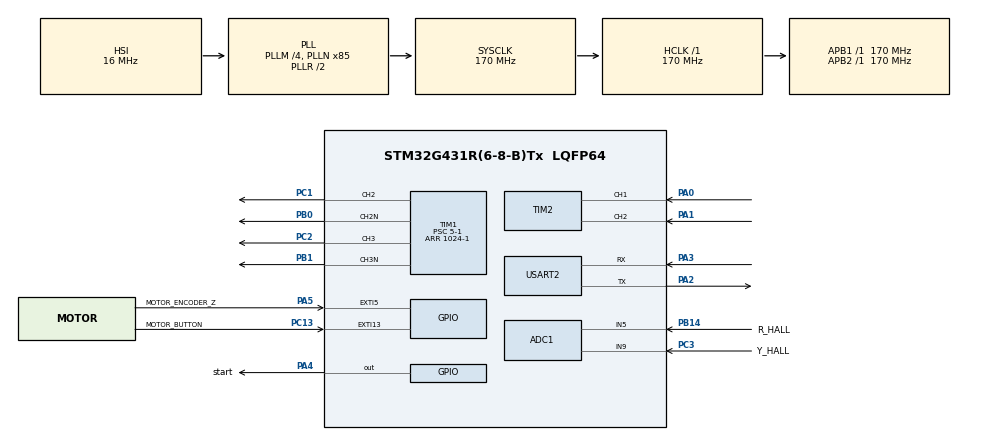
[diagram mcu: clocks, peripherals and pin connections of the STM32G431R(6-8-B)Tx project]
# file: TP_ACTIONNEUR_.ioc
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ADC1.Channel-5\#ChannelRegularConversion=ADC_CHANNEL_5
ADC1.Channel-6\#ChannelRegularConversion=ADC_CHANNEL_9
ADC1.ContinuousConvMode=ENABLE
ADC1.EOCSelection=ADC_EOC_SINGLE_CONV
ADC1.NbrOfConversion=2
ADC1.NbrOfConversionFlag=1
ADC1.OffsetNumber-5\#ChannelRegularConversion=ADC_OFFSET_NONE
ADC1.OffsetNumber-6\#ChannelRegularConversion=ADC_OFFSET_NONE
ADC1.Rank-5\#ChannelRegularConversion=1
ADC1.Rank-6\#ChannelRegularConversion=2
ADC1.SamplingTime-5\#ChannelRegularConversion=ADC_SAMPLETIME_2CYCLES_5
ADC1.SamplingTime-6\#ChannelRegularConversion=ADC_SAMPLETIME_2CYCLES_5
ADC1.master=1
Dma.ADC1.0.Direction=DMA_PERIPH_TO_MEMORY
Dma.ADC1.0.EventEnable=DISABLE
Dma.ADC1.0.Instance=DMA1_Channel1
Dma.ADC1.0.MemDataAlignment=DMA_MDATAALIGN_WORD
Dma.ADC1.0.MemInc=DMA_MINC_ENABLE
Dma.ADC1.0.Mode=DMA_CIRCULAR
Dma.ADC1.0.PeriphDataAlignment=DMA_PDATAALIGN_WORD
Dma.ADC1.0.PeriphInc=DMA_PINC_DISABLE
Dma.ADC1.0.Polarity=HAL_DMAMUX_REQ_GEN_RISING
Dma.ADC1.0.Priority=DMA_PRIORITY_LOW
Dma.ADC1.0.RequestNumber=1
Dma.ADC1.0.SignalID=NONE
Dma.ADC1.0.SyncEnable=DISABLE
Dma.ADC1.0.SyncPolarity=HAL_DMAMUX_SYNC_NO_EVENT
Dma.ADC1.0.SyncRequestNumber=1
Dma.ADC1.0.SyncSignalID=NONE
Dma.Request0=ADC1
Mcu.Family=STM32G4
Mcu.Name=STM32G431R(6-8-B)Tx
Mcu.Package=LQFP64
NVIC.DMA1_Channel1_IRQn=true\:0\:0\:false\:false\:true\:false\:true
NVIC.EXTI15_10_IRQn=true\:0\:0\:false\:false\:true\:true\:true
NVIC.EXTI9_5_IRQn=true\:0\:0\:false\:false\:true\:true\:true
NVIC.PriorityGroup=NVIC_PRIORITYGROUP_4
NVIC.TIM3_IRQn=true\:0\:0\:false\:false\:true\:true\:true
NVIC.TIM4_IRQn=true\:0\:0\:false\:false\:true\:true\:true
NVIC.TIM6_DAC_IRQn=true\:15\:0\:false\:false\:true\:false\:true
NVIC.TIM7_IRQn=true\:0\:0\:false\:false\:true\:true\:true
NVIC.TimeBase=TIM6_DAC_IRQn
NVIC.TimeBaseIP=TIM6
NVIC.USART2_IRQn=true\:0\:0\:false\:false\:true\:true\:true
PA0.Signal=S_TIM2_CH1
PA1.Signal=S_TIM2_CH2
PA13.Mode=Serial_Wire
PA13.Signal=SYS_JTMS-SWDIO
PA14.Mode=Serial_Wire
PA14.Signal=SYS_JTCK-SWCLK
PA2.Mode=Asynchronous
PA2.Signal=USART2_TX
PA3.Mode=Asynchronous
PA3.Signal=USART2_RX
PA4.GPIO_Label=start
PA4.Signal=GPIO_Output
PA5.GPIO_Label=MOTOR_ENCODER_Z
PA5.Signal=GPXTI5
PB0.Mode=PWM Generation2 CH2 CH2N
PB0.Signal=TIM1_CH2N
PB1.Mode=PWM Generation3 CH3 CH3N
PB1.Signal=TIM1_CH3N
PB14.GPIO_Label=R_HALL
PB14.Mode=IN5-Single-Ended
PB14.Signal=ADC1_IN5
PC0.Signal=ADC1_IN6
PC1.Signal=S_TIM1_CH2
PC13.GPIO_Label=MOTOR_BUTTON
PC13.Signal=GPXTI13
PC2.Signal=S_TIM1_CH3
PC3.GPIO_Label=Y_HALL
PC3.Mode=IN9-Single-Ended
PC3.Signal=ADC1_IN9
PF0-OSC_IN.Mode=HSE-External-Oscillator
PF0-OSC_IN.Signal=RCC_OSC_IN
PF1-OSC_OUT.Mode=HSE-External-Oscillator
PF1-OSC_OUT.Signal=RCC_OSC_OUT
ProjectManager.HeapSize=0x200
ProjectManager.StackSize=0x400
ProjectManager.TargetToolchain=STM32CubeIDE
RCC.ADC12Freq_Value=170000000
RCC.AHBFreq_Value=170000000
RCC.APB1Freq_Value=170000000
RCC.APB1TimFreq_Value=170000000
RCC.APB2Freq_Value=170000000
RCC.APB2TimFreq_Value=170000000
RCC.CortexFreq_Value=170000000
RCC.EXTERNAL_CLOCK_VALUE=12288000
RCC.HCLKFreq_Value=170000000
RCC.HSE_VALUE=24000000
RCC.HSI48_VALUE=48000000
RCC.HSI_VALUE=16000000
RCC.LSE_VALUE=32768
RCC.PLLM=RCC_PLLM_DIV4
RCC.PLLN=85
RCC.RTCClockSelection=RCC_RTCCLKSOURCE_LSE
RCC.SYSCLKFreq_VALUE=170000000
RCC.SYSCLKSource=RCC_SYSCLKSOURCE_PLLCLK
RCC.USBFreq_Value=170000000
RCC.VCOOutputFreq_Value=340000000
SH.S_TIM1_CH2.0=TIM1_CH2,PWM Generation2 CH2 CH2N
SH.S_TIM1_CH3.0=TIM1_CH3,PWM Generation3 CH3 CH3N
SH.S_TIM2_CH1.0=TIM2_CH1,Encoder_Interface
SH.S_TIM2_CH2.0=TIM2_CH2,Encoder_Interface
TIM1.Channel-PWM\ Generation2\ CH2\ CH2N=TIM_CHANNEL_2
TIM1.Channel-PWM\ Generation3\ CH3\ CH3N=TIM_CHANNEL_3
TIM1.CounterMode=TIM_COUNTERMODE_CENTERALIGNED1
TIM1.DeadTime=203
TIM1.PeriodNoDither=1024-1
TIM1.Prescaler=5-1
TIM2.EncoderMode=TIM_ENCODERMODE_TI12
TIM3.PeriodNoDither=17000-1
TIM3.Prescaler=10000-1
TIM4.PeriodNoDither=17000-1
TIM4.Prescaler=10-1
TIM7.Prescaler=26-1
USART2.VirtualMode-Asynchronous=VM_ASYNC
VP_SYS_VS_DBSignals.Mode=DisableDeadBatterySignals
VP_SYS_VS_tim6.Mode=TIM6
VP_TIM3_VS_ClockSourceINT.Mode=Internal
VP_TIM4_VS_ClockSourceINT.Mode=Internal
VP_TIM7_VS_ClockSourceINT.Mode=Enable_Timer
board=NUCLEO-G431RB

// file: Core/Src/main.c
/* USER CODE BEGIN Header */
/**
 ******************************************************************************
 * @file           : main.c
 * @brief          : Main program body
 ******************************************************************************
 * @attention
 *
 * <h2><center>&copy; Copyright (c) 2021 STMicroelectronics.
 * All rights reserved.</center></h2>
 *
 * This software component is licensed by ST under BSD 3-Clause license,
 * the "License"; You may not use this file except in compliance with the
 * License. You may obtain a copy of the License at:
 *                        opensource.org/licenses/BSD-3-Clause
 *
 ******************************************************************************
 */
/* USER CODE END Header */
#include "main.h"
#include "adc.h"
#include "dma.h"
#include "tim.h"
#include "usart.h"
#include "gpio.h"

/* USER CODE BEGIN Includes */
#include <shell.h>
#include <motor.h>
/* USER CODE END Includes */

/* USER CODE BEGIN PD */
//#define UART_RX_BUFFER_SIZE 1
//#define UART_TX_BUFFER_SIZE 1

#define ENC_RESET_CNT 2147483648  // 2^32/2

/* USER CODE END PD */

/* USER CODE BEGIN PV */
// MOTOR speed
uint16_t alpha = 500;

/* USER CODE END PV */

void SystemClock_Config(void);

/* USER CODE BEGIN 0 */
//char uart_rx_buffer[UART_RX_BUFFER_SIZE];
//char uart_tx_buffer[UART_TX_BUFFER_SIZE];
/* USER CODE END 0 */

int main(void)
{

  /* MCU Configuration--------------------------------------------------------*/

  /* Reset of all peripherals, Initializes the Flash interface and the Systick. */
  HAL_Init();

  /* Configure the system clock */
  SystemClock_Config();

  /* Initialize all configured peripherals */
  MX_GPIO_Init();
  MX_USART2_UART_Init();
  MX_TIM1_Init();
  MX_TIM7_Init();
  MX_TIM2_Init();
  MX_TIM3_Init();
  MX_DMA_Init();
  MX_ADC1_Init();
  MX_TIM4_Init();
  /* USER CODE BEGIN 2 */
	HAL_TIM_Base_Start_IT(&htim7);
	HAL_TIM_Base_Start_IT(&htim3);
	HAL_TIM_Base_Start_IT(&htim4);

	printf("\r\n -------------- TP ACTIONNEUR -------------- \r\n");

	// ENCODER - Set the counter value at ARR/2
	__HAL_TIM_SET_COUNTER(&htim2,ENC_RESET_CNT);
	SHELL_init();
	MOTOR_init();

  /* USER CODE END 2 */

  /* Infinite loop */
  /* USER CODE BEGIN WHILE */
	while (1)
	{
		SHELL();
    /* USER CODE END WHILE */

	}
}

void SystemClock_Config(void)
{
  RCC_OscInitTypeDef RCC_OscInitStruct = {0};
  RCC_ClkInitTypeDef RCC_ClkInitStruct = {0};
  RCC_PeriphCLKInitTypeDef PeriphClkInit = {0};

  /** Configure the main internal regulator output voltage
  */
  HAL_PWREx_ControlVoltageScaling(PWR_REGULATOR_VOLTAGE_SCALE1_BOOST);
  /** Initializes the RCC Oscillators according to the specified parameters
  * in the RCC_OscInitTypeDef structure.
  */
  RCC_OscInitStruct.OscillatorType = RCC_OSCILLATORTYPE_HSI;
  RCC_OscInitStruct.HSIState = RCC_HSI_ON;
  RCC_OscInitStruct.HSICalibrationValue = RCC_HSICALIBRATION_DEFAULT;
  RCC_OscInitStruct.PLL.PLLState = RCC_PLL_ON;
  RCC_OscInitStruct.PLL.PLLSource = RCC_PLLSOURCE_HSI;
  RCC_OscInitStruct.PLL.PLLM = RCC_PLLM_DIV4;
  RCC_OscInitStruct.PLL.PLLN = 85;
  RCC_OscInitStruct.PLL.PLLP = RCC_PLLP_DIV2;
  RCC_OscInitStruct.PLL.PLLQ = RCC_PLLQ_DIV2;
  RCC_OscInitStruct.PLL.PLLR = RCC_PLLR_DIV2;
  if (HAL_RCC_OscConfig(&RCC_OscInitStruct) != HAL_OK)
  {
    Error_Handler();
  }
  /** Initializes the CPU, AHB and APB buses clocks
  */
  RCC_ClkInitStruct.ClockType = RCC_CLOCKTYPE_HCLK|RCC_CLOCKTYPE_SYSCLK
                              |RCC_CLOCKTYPE_PCLK1|RCC_CLOCKTYPE_PCLK2;
  RCC_ClkInitStruct.SYSCLKSource = RCC_SYSCLKSOURCE_PLLCLK;
  RCC_ClkInitStruct.AHBCLKDivider = RCC_SYSCLK_DIV1;
  RCC_ClkInitStruct.APB1CLKDivider = RCC_HCLK_DIV1;
  RCC_ClkInitStruct.APB2CLKDivider = RCC_HCLK_DIV1;

  if (HAL_RCC_ClockConfig(&RCC_ClkInitStruct, FLASH_LATENCY_4) != HAL_OK)
  {
    Error_Handler();
  }
  /** Initializes the peripherals clocks
  */
  PeriphClkInit.PeriphClockSelection = RCC_PERIPHCLK_USART2|RCC_PERIPHCLK_ADC12;
  PeriphClkInit.Usart2ClockSelection = RCC_USART2CLKSOURCE_PCLK1;
  PeriphClkInit.Adc12ClockSelection = RCC_ADC12CLKSOURCE_SYSCLK;
  if (HAL_RCCEx_PeriphCLKConfig(&PeriphClkInit) != HAL_OK)
  {
    Error_Handler();
  }
}

/* USER CODE BEGIN 4 */
void HAL_GPIO_EXTI_Callback(uint16_t GPIO_Pin){
	if(GPIO_Pin == MOTOR_BUTTON_Pin){
		if(motorStatus == 0){
			MOTOR_start();
		}else if(motorStatus == 1){
			MOTOR_stop();
		}
	}
	else if(GPIO_Pin == MOTOR_ENCODER_Z_Pin){
		//		Calcul nb de cran sur roue codeuse
		//		count = __HAL_TIM_GET_COUNTER(&htim2);
		//		count = count/4;
		//		printf("Nb de tick par tour : %ld \r\n",count);
		//		__HAL_TIM_SET_COUNTER(&htim2,0);
	}
}

/* USER CODE END 4 */

void HAL_TIM_PeriodElapsedCallback(TIM_HandleTypeDef *htim)
{
  /* USER CODE BEGIN Callback 0 */
	if(htim->Instance == TIM7){
		if(motorAlpha > alpha){
			alpha++;
			MOTOR_setSpeed(alpha);
		}else if(motorAlpha < alpha){
			alpha--;
			MOTOR_setSpeed(alpha);
		}
	}
	if(htim->Instance == TIM3)
	{
		speed = (int32_t)__HAL_TIM_GET_COUNTER(&htim2);

		speed -= ENC_RESET_CNT;
		speed = 1 * speed * 60/(4*1000); //1sec

		__HAL_TIM_SET_COUNTER(&htim2,ENC_RESET_CNT);
	}
	if(htim->Instance == TIM4)
	{
		HAL_ADC_Start_DMA(&hadc1, buf_ADC_DMA, 2);

		// Conversion tension
		float tension[2];
		tension[0] = (float)(buf_ADC_DMA[0]) * 3.3/4095;
		tension[1] = (float)(buf_ADC_DMA[1]) * 3.3/4095;

		// Conversion courant
		float courant[2];
		courant[0] = (tension[0] - 2.5)*12.0;
		courant[1] = (tension[1] - 2.5)*12.0;

		courant[0] = courant[0]*1000;
		courant[1] = courant[1]*1000;

		buf_ADC[0] = (uint32_t)courant[0];
		buf_ADC[1] = (uint32_t)courant[1];

		HAL_ADC_Stop_DMA(&hadc1);
	}

  /* USER CODE END Callback 0 */
  if (htim->Instance == TIM6) {
    HAL_IncTick();
  }
}

void Error_Handler(void)
{
	__disable_irq();
	while (1)
	{
	}
}

/************************ (C) COPYRIGHT STMicroelectronics *****END OF FILE****/
